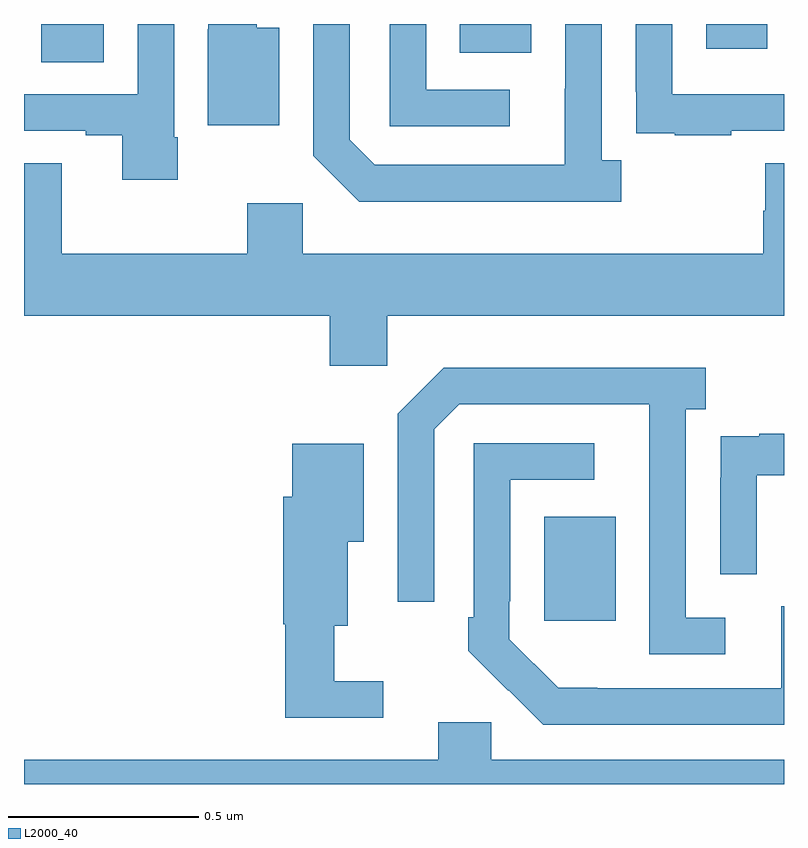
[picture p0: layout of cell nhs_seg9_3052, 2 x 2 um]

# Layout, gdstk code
import gdstk
lib = gdstk.Library(unit=1e-6, precision=1e-09)
def R(c, l, rs):  # rectangles x0, y0, x1, y1
    for r in rs: c.add(gdstk.rectangle(r[:2], r[2:], *l))
def P(c, l, *ps):  # polygons
    for p in ps: c.add(gdstk.Polygon(p, *l))
L2000_40 = (2000, 40)

nhs_seg9_3052 = lib.new_cell('nhs_seg9_3052')
R(nhs_seg9_3052, L2000_40, [(149.369,1216.929,149.557,1217.203), (148.046,1218.4,148.21,1218.5), (149.147,1218.425,149.335,1218.5), (149.795,1218.435,149.956,1218.5)])
P(nhs_seg9_3052, L2000_40, [(148.404,1218.202),(148.395,1218.202),(148.395,1218.5),(148.299,1218.5),(148.299,1218.315),(148,1218.315),(148,1218.219),(148.163,1218.219),(148.163,1218.207),(148.259,1218.207),(148.259,1218.09),(148.404,1218.09)],
  [(149.278,1218.327),(149.058,1218.327),(149.058,1218.5),(148.962,1218.5),(148.962,1218.231),(149.278,1218.231)],
  [(149.861,1218.219),(150,1218.219),(150,1218.315),(149.706,1218.315),(149.706,1218.5),(149.61,1218.5),(149.61,1218.322),(149.611,1218.322),(149.611,1218.213),(149.713,1218.213),(149.713,1218.207),(149.861,1218.207)],
  [(149.572,1218.142),(149.52,1218.142),(149.52,1218.5),(149.424,1218.5),(149.424,1218.329),(149.423,1218.329),(149.423,1218.129),(148.923,1218.129),(148.857,1218.195),(148.857,1218.5),(148.761,1218.5),(148.761,1218.153),(148.882,1218.032),(149.572,1218.032)],
  [(148.672,1218.49),(148.612,1218.49),(148.612,1218.5),(148.485,1218.5),(148.485,1218.486),(148.484,1218.486),(148.484,1218.233),(148.672,1218.233)],
  [(148.956,1217.732),(150,1217.732),(150,1218.134),(149.95,1218.134),(149.95,1218.009),(149.945,1218.009),(149.945,1217.896),(148.734,1217.896),(148.734,1218.028),(148.588,1218.028),(148.588,1217.896),(148.099,1217.896),(148.099,1218.134),(148,1218.134),(148,1217.732),(148.805,1217.732),(148.805,1217.601),(148.956,1217.601)],
  [(149.845,1216.938),(149.742,1216.938),(149.742,1217.486),(149.794,1217.486),(149.794,1217.596),(149.104,1217.596),(148.983,1217.475),(148.983,1216.98),(149.079,1216.98),(149.079,1217.433),(149.145,1217.499),(149.645,1217.499),(149.645,1217.299),(149.646,1217.299),(149.646,1216.842),(149.845,1216.842)],
  [(149.928,1217.313),(150,1217.313),(150,1217.422),(149.935,1217.422),(149.935,1217.415),(149.833,1217.415),(149.833,1217.306),(149.832,1217.306),(149.832,1217.052),(149.928,1217.052)],
  [(150,1216.968),(149.993,1216.968),(149.993,1216.752),(149.509,1216.752),(149.509,1216.753),(149.406,1216.753),(149.277,1216.881),(149.277,1216.981),(149.28,1216.981),(149.28,1217.301),(149.5,1217.301),(149.5,1217.397),(149.184,1217.397),(149.184,1216.939),(149.169,1216.939),(149.169,1216.851),(149.274,1216.746),(149.275,1216.747),(149.366,1216.656),(150,1216.656)],
  [(148.945,1216.771),(148.816,1216.771),(148.816,1216.916),(148.852,1216.916),(148.852,1217.138),(148.894,1217.138),(148.894,1217.395),(148.706,1217.395),(148.706,1217.256),(148.682,1217.256),(148.682,1216.92),(148.687,1216.92),(148.687,1216.674),(148.945,1216.674)],
  [(150,1216.564),(149.229,1216.564),(149.229,1216.662),(149.09,1216.662),(149.09,1216.564),(148,1216.564),(148,1216.5),(150,1216.5)])

lib.write_gds('nhs_seg9_3052.gds')
